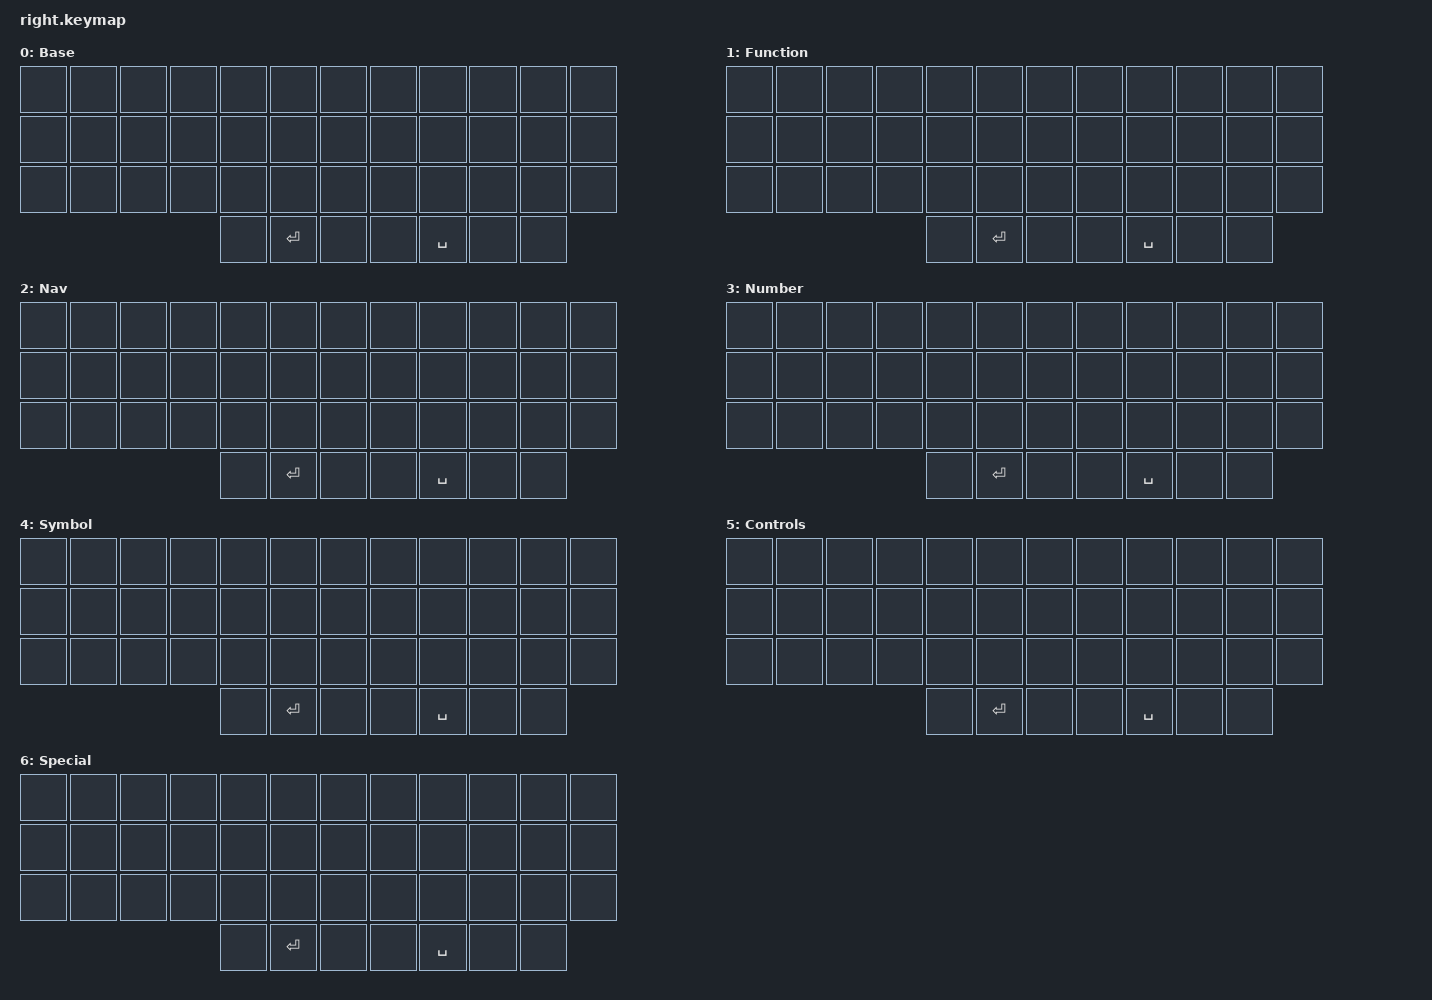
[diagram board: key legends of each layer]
#include <behaviors.dtsi>
#include <dt-bindings/zmk/keys.h>

/ {
    keymap {
        compatible = "zmk,keymap";

        Base {
            bindings = <
&none  &none  &none  &none  &none  &none      &none    &none  &none      &none  &none  &none
&none  &none  &none  &none  &none  &none      &none    &none  &none      &none  &none  &none
&none  &none  &none  &none  &none  &none      &none    &none  &none      &none  &none  &none
                            &none  &kp ENTER  &none    &none  &kp SPACE  &none  &none                                                 
            >;
        };

        Function {
            bindings = <
&none  &none  &none  &none  &none  &none      &none    &none  &none      &none  &none  &none
&none  &none  &none  &none  &none  &none      &none    &none  &none      &none  &none  &none
&none  &none  &none  &none  &none  &none      &none    &none  &none      &none  &none  &none
                            &none  &kp ENTER  &none    &none  &kp SPACE  &none  &none                                                 
            >;
        };

        Nav {
            bindings = <
&none  &none  &none  &none  &none  &none      &none    &none  &none      &none  &none  &none
&none  &none  &none  &none  &none  &none      &none    &none  &none      &none  &none  &none
&none  &none  &none  &none  &none  &none      &none    &none  &none      &none  &none  &none
                            &none  &kp ENTER  &none    &none  &kp SPACE  &none  &none                                                 
            >;
        };

        Number {
            bindings = <
&none  &none  &none  &none  &none  &none      &none    &none  &none      &none  &none  &none
&none  &none  &none  &none  &none  &none      &none    &none  &none      &none  &none  &none
&none  &none  &none  &none  &none  &none      &none    &none  &none      &none  &none  &none
                            &none  &kp ENTER  &none    &none  &kp SPACE  &none  &none                                                 
            >;
        };

        Symbol {
            bindings = <
&none  &none  &none  &none  &none  &none      &none    &none  &none      &none  &none  &none
&none  &none  &none  &none  &none  &none      &none    &none  &none      &none  &none  &none
&none  &none  &none  &none  &none  &none      &none    &none  &none      &none  &none  &none
                            &none  &kp ENTER  &none    &none  &kp SPACE  &none  &none                                                 
            >;
        };

        Controls {
            bindings = <
&none  &none  &none  &none  &none  &none      &none    &none  &none      &none  &none  &none
&none  &none  &none  &none  &none  &none      &none    &none  &none      &none  &none  &none
&none  &none  &none  &none  &none  &none      &none    &none  &none      &none  &none  &none
                            &none  &kp ENTER  &none    &none  &kp SPACE  &none  &none                                                 
            >;
        };

        Special {
            bindings = <
&none  &none  &none  &none  &none  &none      &none    &none  &none      &none  &none  &none
&none  &none  &none  &none  &none  &none      &none    &none  &none      &none  &none  &none
&none  &none  &none  &none  &none  &none      &none    &none  &none      &none  &none  &none
                            &none  &kp ENTER  &none    &none  &kp SPACE  &none  &none                                                 
            >;
        };

    };
};
